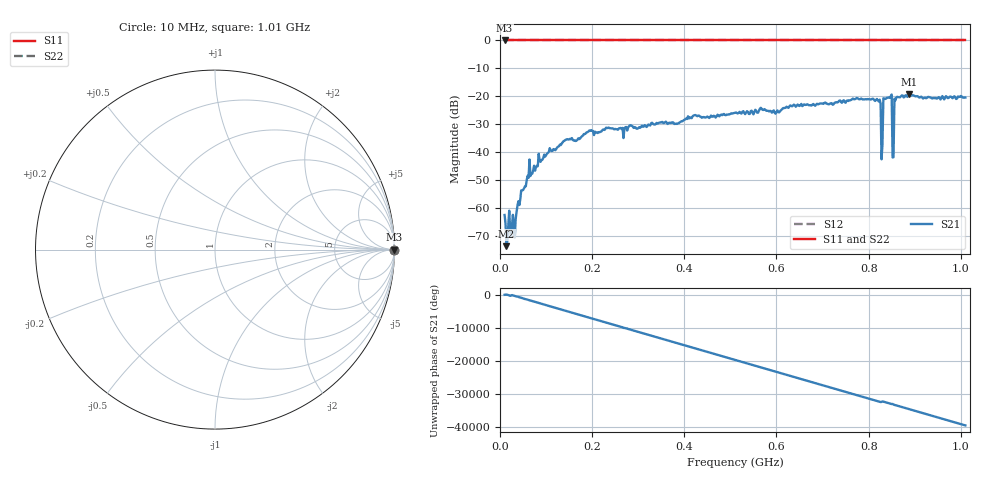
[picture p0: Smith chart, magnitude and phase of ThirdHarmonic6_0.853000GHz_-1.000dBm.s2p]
! 8/16/2025 4:14:09 AM
! C:\ANRITSUVNA\TEMP\TEMP.S2P
! CHANNEL.1
! TR.MEASUREMENT
! RAW.DATA
! RF.CORRECTION.OFF
! AVERAGING.OFF
! IF.BANDWIDTH: 5KHZ
! SWEEPTYPE:  FREQ.SWEEP(Linear)
! Reference Plane Port Info
! PORT:  PORT1  PORT2
! DISTANCE:  0  m  0  m
! TIME:  0  s  0  s
! PHASE.OFFSET:  0  deg.  0  deg.
! LOSS:  0  dB  0  dB
! REF.LOSS:  0  dB  0  dB
! REF.FREQ:  0  Hz  0  Hz
! Power Info
! POWER:  -20  dBm  -20  dBm
! EFF.POWER:  -20  dBm  -20  dBm
! SOURCE.ATTEN:  0  dB  0  dB
! TEST.ATTEN:  0  dB  0  dB
# GHZ S RI R 50.0
! FREQ.GHZ  S11RE  S11IM  S21RE  S21IM  S12RE  S12IM  S22RE  S22IM
!; PortSelection: Port_12
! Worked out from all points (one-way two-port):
!   501 points, 10 MHz to 1.01 GHz, reference 50 ohm
!   highest |S21| = -19.25 dB at 888 MHz (marker M1); lowest = -73.5 dB at 14 MHz (marker M2)
!   lowest |S11| = 0.0 dB at 10 MHz (marker M3)
!   |S11| at or under -10 dB: nowhere
!   |S22| runs from 0.0 to 0.0 dB; largest |S21 - S12| = 1.1
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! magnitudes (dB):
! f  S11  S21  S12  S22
! 10 MHz  0.0  -62.3  0.0  0.0
! 14 MHz  0.0  -73.5  0.0  0.0
! 28 MHz  0.0  -62.3  0.0  0.0
! 42 MHz  0.0  -58.8  0.0  0.0
! 64 MHz  0.0  -42.5  0.0  0.0
! 106 MHz  0.0  -39.8  0.0  0.0
! 178 MHz  0.0  -34.2  0.0  0.0
! 344 MHz  0.0  -29.5  0.0  0.0
! 510 MHz  0.0  -25.8  0.0  0.0
! 678 MHz  0.0  -22.9  0.0  0.0
! 820 MHz  0.0  -21.4  0.0  0.0
! 822 MHz  0.0  -21.8  0.0  0.0
! 826 MHz  0.0  -22.5  0.0  0.0
! 832 MHz  0.0  -20.7  0.0  0.0
! 836 MHz  0.0  -20.9  0.0  0.0
! 844 MHz  0.0  -20.4  0.0  0.0
! 846 MHz  0.0  -20.5  0.0  0.0
! 850 MHz  0.0  -19.3  0.0  0.0
! 856 MHz  0.0  -20.8  0.0  0.0
! 860 MHz  0.0  -20.4  0.0  0.0
! 888 MHz  0.0  -19.3  0.0  0.0
! 1.01 GHz  0.0  -20.4  0.0  0.0
